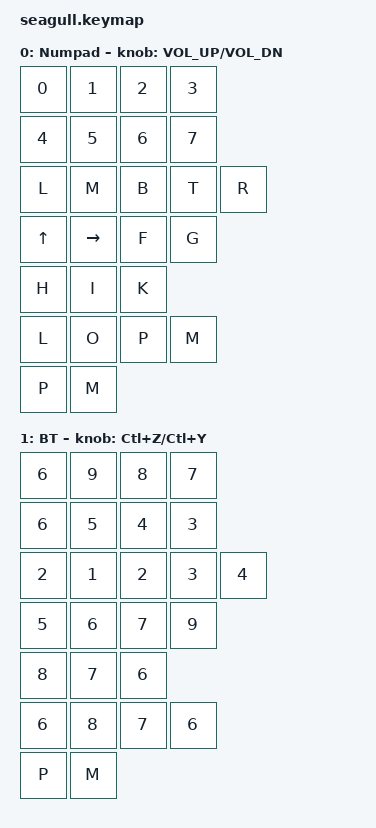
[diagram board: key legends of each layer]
#include <../boards/shields/kyria/boards/nice_nano.overlay>
#include <behaviors.dtsi>
#include <dt-bindings/zmk/keys.h>

#define NUMPAD 0
#define BLUETOOTH 1

/ {
    keymap {
        compatible = "zmk,keymap";

        layer_numpad {
            display-name = "Numpad";

            // +---------------------------+                      
            // |   7  |   8  |   9  |   *  |                      
            // +------+------+------+------+
            // |   4  |   5  |   6  |   /  |                      
            // +------+------+------+------+-------+     
            // |   1  |   2  |   3  |   *  | L-BT  |                     
            // +------+------+------+------+-------+    
            // |   0  |   .  |  +   |   =  |                          
            // +------+------+------+------+  

            bindings = <
&kp N0  &kp N1     &kp N2  &kp N3
&kp N4  &kp N5     &kp N6  &kp N7
&kp L   &kp M      &kp B   &kp T   &kp R
&kp UP  &kp RIGHT  &kp F   &kp G
&kp H   &kp I      &kp K
&kp L   &kp O      &kp P   &kp M
&kp P   &kp M
            >;

            sensor-bindings = <&inc_dec_kp C_VOL_UP C_VOL_DN>;
        };

        layer_bluetooth {
            display-name = "BT";

            // +---------------------------+                      
            // |CLEAR |      |      |BTLDR |                      
            // +------+------+------+------+
            // |      |      |      |      |                      
            // +------+------+------+------+-------+     
            // | PF1  | PF2  |  PF3 |      | L-BT  |                      
            // +------+------+------+------+-------+    
            // |      |      |      |      |                          
            // +------+------+------+------+     

            bindings = <
&kp N6  &kp N9  &kp N8  &kp N7
&kp N6  &kp N5  &kp N4  &kp N3
&kp N2  &kp N1  &kp N2  &kp N3  &kp N4
&kp N5  &kp N6  &kp N7  &kp N9
&kp N8  &kp N7  &kp N6
&kp N6  &kp N8  &kp N7  &kp N6
&kp P   &kp M
            >;

            sensor-bindings = <&inc_dec_kp LC(Z) LC(Y)>;
        };
    };
};
